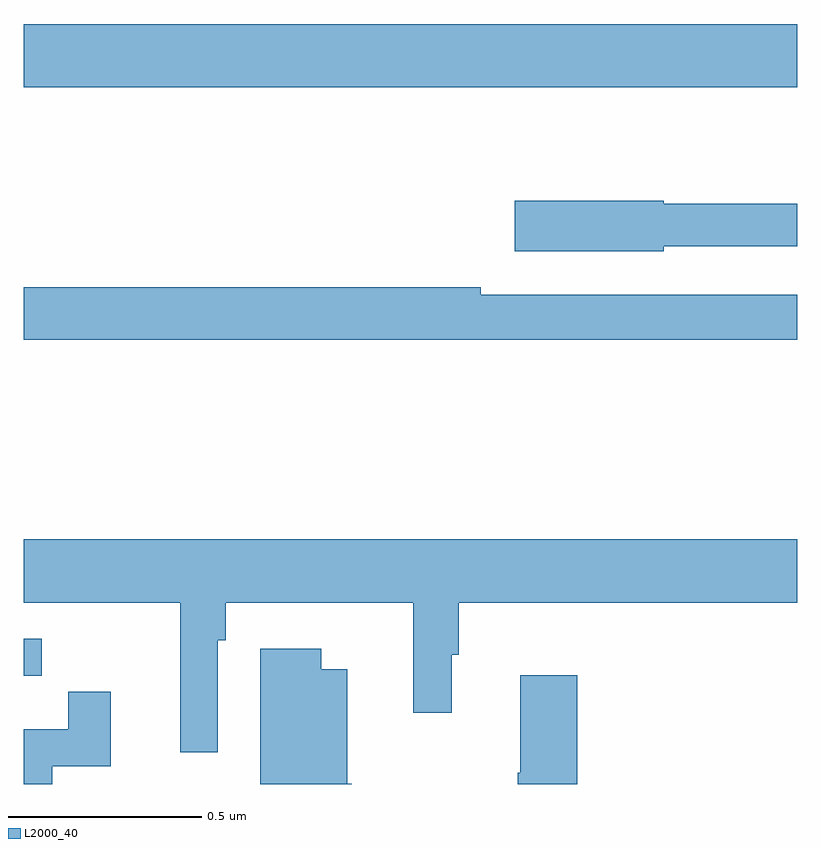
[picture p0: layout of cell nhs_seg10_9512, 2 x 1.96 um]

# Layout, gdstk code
import gdstk
lib = gdstk.Library(unit=1e-6, precision=1e-09)
def R(c, l, rs):  # rectangles x0, y0, x1, y1
    for r in rs: c.add(gdstk.rectangle(r[:2], r[2:], *l))
def P(c, l, *ps):  # polygons
    for p in ps: c.add(gdstk.Polygon(p, *l))
L2000_40 = (2000, 40)

nhs_seg10_9512 = lib.new_cell('nhs_seg10_9512')
R(nhs_seg10_9512, L2000_40, [(230,1314.78,230.047,1314.876), (230,1316.3,232,1316.464)])
P(nhs_seg10_9512, L2000_40, [(231.654,1315.89),(232,1315.89),(232,1315.999),(231.654,1315.999),(231.654,1316.007),(231.27,1316.007),(231.27,1315.877),(231.654,1315.877)],
  [(232,1315.764),(231.182,1315.764),(231.182,1315.784),(230,1315.784),(230,1315.648),(232,1315.648)],
  [(230.502,1314.872),(230.522,1314.872),(230.522,1314.968),(231.007,1314.968),(231.007,1314.684),(231.106,1314.684),(231.106,1314.834),(231.125,1314.834),(231.125,1314.968),(232,1314.968),(232,1315.132),(230,1315.132),(230,1314.968),(230.405,1314.968),(230.405,1314.582),(230.502,1314.582)],
  [(230.848,1314.501),(230.836,1314.501),(230.836,1314.796),(230.77,1314.796),(230.77,1314.85),(230.612,1314.85),(230.612,1314.5),(230.848,1314.5)],
  [(231.431,1314.781),(231.284,1314.781),(231.284,1314.529),(231.277,1314.529),(231.277,1314.5),(231.431,1314.5)],
  [(230.074,1314.546),(230.225,1314.546),(230.225,1314.739),(230.116,1314.739),(230.116,1314.642),(230,1314.642),(230,1314.5),(230.074,1314.5)])

lib.write_gds('nhs_seg10_9512.gds')
